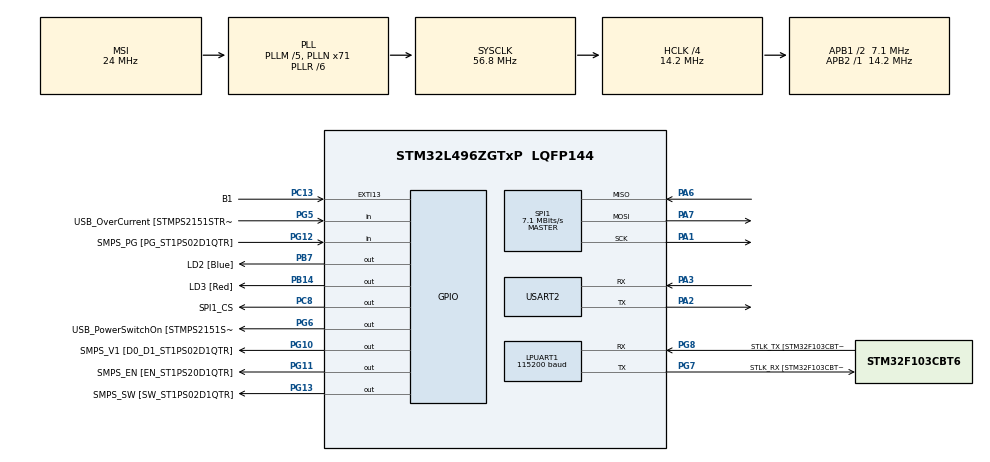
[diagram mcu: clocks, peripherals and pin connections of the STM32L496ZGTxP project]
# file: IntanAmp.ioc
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LPUART1.BaudRate=115200
LPUART1.WordLength=UART_WORDLENGTH_8B
Mcu.Family=STM32L4
Mcu.Name=STM32L496ZGTxP
Mcu.Package=LQFP144
NVIC.EXTI15_10_IRQn=true\:0\:0\:false\:false\:true\:true\:true\:true
NVIC.LPUART1_IRQn=true\:0\:0\:false\:false\:true\:true\:true\:true
NVIC.PriorityGroup=NVIC_PRIORITYGROUP_4
NVIC.SPI1_IRQn=true\:0\:0\:false\:false\:true\:true\:true\:true
NVIC.USART2_IRQn=true\:0\:0\:false\:false\:true\:true\:true\:true
PA1.Mode=Full_Duplex_Master
PA1.Signal=SPI1_SCK
PA10.GPIO_Label=USB_ID
PA10.Signal=USB_OTG_FS_ID
PA11.GPIO_Label=USB_DM
PA11.Signal=USB_OTG_FS_DM
PA12.GPIO_Label=USB_DP
PA12.Signal=USB_OTG_FS_DP
PA13\ (JTMS/SWDIO).GPIO_Label=TMS
PA13\ (JTMS/SWDIO).Mode=Trace_Asynchronous_SW
PA13\ (JTMS/SWDIO).Signal=SYS_JTMS-SWDIO
PA14\ (JTCK/SWCLK).GPIO_Label=TCK
PA14\ (JTCK/SWCLK).Mode=Trace_Asynchronous_SW
PA14\ (JTCK/SWCLK).Signal=SYS_JTCK-SWCLK
PA2.Mode=Asynchronous
PA2.Signal=USART2_TX
PA3.Mode=Asynchronous
PA3.Signal=USART2_RX
PA6.Mode=Full_Duplex_Master
PA6.Signal=SPI1_MISO
PA7.Mode=Full_Duplex_Master
PA7.Signal=SPI1_MOSI
PA8.GPIO_Label=USB_SOF [TP1]
PA8.Signal=USB_OTG_FS_SOF
PA9.GPIO_Label=USB_VBUS
PA9.Signal=USB_OTG_FS_VBUS
PB14.GPIO_Label=LD3 [Red]
PB14.Signal=GPIO_Output
PB3\ (JTDO/TRACESWO).GPIO_Label=SWO
PB3\ (JTDO/TRACESWO).Mode=Trace_Asynchronous_SW
PB3\ (JTDO/TRACESWO).Signal=SYS_JTDO-SWO
PB7.GPIO_Label=LD2 [Blue]
PB7.Signal=GPIO_Output
PC13.GPIO_Label=B1
PC13.Signal=GPXTI13
PC14-OSC32_IN\ (PC14).Mode=LSE-External-Oscillator
PC14-OSC32_IN\ (PC14).Signal=RCC_OSC32_IN
PC15-OSC32_OUT\ (PC15).Mode=LSE-External-Oscillator
PC15-OSC32_OUT\ (PC15).Signal=RCC_OSC32_OUT
PC8.GPIO_Label=SPI1_CS
PC8.Signal=GPIO_Output
PG10.GPIO_Label=SMPS_V1 [D0_D1_ST1PS02D1QTR]
PG10.Signal=GPIO_Output
PG11.GPIO_Label=SMPS_EN [EN_ST1PS20D1QTR]
PG11.Signal=GPIO_Output
PG12.GPIO_Label=SMPS_PG [PG_ST1PS02D1QTR]
PG12.Signal=GPIO_Input
PG13.GPIO_Label=SMPS_SW [SW_ST1PS02D1QTR]
PG13.Signal=GPIO_Output
PG5.GPIO_Label=USB_OverCurrent [STMPS2151STR_FAULT]
PG5.Signal=GPIO_Input
PG6.GPIO_Label=USB_PowerSwitchOn [STMPS2151STR_EN]
PG6.Signal=GPIO_Output
PG7.GPIO_Label=STLK_RX [STM32F103CBT6_PA3]
PG7.Mode=Asynchronous
PG7.Signal=LPUART1_TX
PG8.GPIO_Label=STLK_TX [STM32F103CBT6_PA2]
PG8.Mode=Asynchronous
PG8.Signal=LPUART1_RX
PH0-OSC_IN\ (PH0).GPIO_Label=MCO
PH0-OSC_IN\ (PH0).Signal=RCC_OSC_IN
PH1-OSC_OUT\ (PH1).Signal=RCC_OSC_OUT
ProjectManager.HeapSize=0x200
ProjectManager.StackSize=0x400
ProjectManager.TargetToolchain=STM32CubeIDE
RCC.48MHZClocksFreq_Value=24000000
RCC.ADCFreq_Value=48000000
RCC.AHBCLKDivider=RCC_SYSCLK_DIV4
RCC.AHBFreq_Value=14200000
RCC.APB1CLKDivider=RCC_HCLK_DIV2
RCC.APB1Freq_Value=7100000
RCC.APB1TimFreq_Value=14200000
RCC.APB2Freq_Value=14200000
RCC.APB2TimFreq_Value=14200000
RCC.CortexFreq_Value=14200000
RCC.HCLKFreq_Value=14200000
RCC.HSE_VALUE=8000000
RCC.HSI48_VALUE=48000000
RCC.HSI_VALUE=16000000
RCC.MSIClockRange=RCC_MSIRANGE_9
RCC.MSI_VALUE=24000000
RCC.PLLM=5
RCC.PLLMUL=RCC_PLL_MUL9
RCC.PLLN=71
RCC.PLLR=RCC_PLLR_DIV6
RCC.PLLSAI1N=20
RCC.PRESCALERUSB=RCC_USBCLKSOURCE_PLL_DIV1_5
RCC.SYSCLKFreq_VALUE=56800000
RCC.SYSCLKSource=RCC_SYSCLKSOURCE_PLLCLK
RCC.SYSCLKSourceVirtual=RCC_SYSCLKSOURCE_PLLCLK
RCC.USBFreq_Value=48000000
RCC.VCOOutputFreq_Value=340800000
SPI1.CalculateBaudRate=7.1 MBits/s
SPI1.DataSize=SPI_DATASIZE_16BIT
SPI1.Direction=SPI_DIRECTION_2LINES
SPI1.Mode=SPI_MODE_MASTER
SPI1.VirtualType=VM_MASTER
TIM17.Period=79
USART2.VirtualMode-Asynchronous=VM_ASYNC
VP_TIM17_VS_ClockSourceINT.Mode=Enable_Timer
board=NUCLEO-L496ZG-P

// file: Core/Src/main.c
/* USER CODE BEGIN Header */
/**
  ******************************************************************************
  * @file           : main.c
  * @brief          : Main program body
  ******************************************************************************
  * @attention
  *
  * Copyright (c) 2023 STMicroelectronics.
  * All rights reserved.
  *
  * This software is licensed under terms that can be found in the LICENSE file
  * in the root directory of this software component.
  * If no LICENSE file comes with this software, it is provided AS-IS.
  *
  ******************************************************************************
  */
/* USER CODE END Header */
#include "main.h"

UART_HandleTypeDef hlpuart1;
UART_HandleTypeDef huart2;

SPI_HandleTypeDef hspi1;

TIM_HandleTypeDef htim17;

void SystemClock_Config(void);
static void MX_GPIO_Init(void);
static void MX_LPUART1_UART_Init(void);
static void MX_SPI1_Init(void);
static void MX_TIM17_Init(void);
static void MX_USART2_UART_Init(void);
/* USER CODE BEGIN PFP */
void us_wait(uint32_t us);
void ms_wait(uint32_t ms);
/* USER CODE END PFP */

int main(void)
{

  /* MCU Configuration--------------------------------------------------------*/

  /* Reset of all peripherals, Initializes the Flash interface and the Systick. */
  HAL_Init();

  /* Configure the system clock */
  SystemClock_Config();

  /* Initialize all configured peripherals */
  MX_GPIO_Init();
  MX_LPUART1_UART_Init();
  MX_SPI1_Init();
  MX_TIM17_Init();
  MX_USART2_UART_Init();

  /* Infinite loop */
  /* USER CODE BEGIN WHILE */
  while (1)
  {HAL_GPIO_WritePin(GPIOB, GPIO_PIN_7, GPIO_PIN_SET);
    HAL_Delay(100);
    HAL_GPIO_WritePin(GPIOB, GPIO_PIN_7, GPIO_PIN_RESET);
	HAL_Delay(800);

    /* USER CODE END WHILE */

  }
}

void SystemClock_Config(void)
{
  RCC_OscInitTypeDef RCC_OscInitStruct = {0};
  RCC_ClkInitTypeDef RCC_ClkInitStruct = {0};

  /** Configure the main internal regulator output voltage
  */
  if (HAL_PWREx_ControlVoltageScaling(PWR_REGULATOR_VOLTAGE_SCALE1) != HAL_OK)
  {
    Error_Handler();
  }

  /** Initializes the RCC Oscillators according to the specified parameters
  * in the RCC_OscInitTypeDef structure.
  */
  RCC_OscInitStruct.OscillatorType = RCC_OSCILLATORTYPE_MSI;
  RCC_OscInitStruct.MSIState = RCC_MSI_ON;
  RCC_OscInitStruct.MSICalibrationValue = 0;
  RCC_OscInitStruct.MSIClockRange = RCC_MSIRANGE_9;
  RCC_OscInitStruct.PLL.PLLState = RCC_PLL_ON;
  RCC_OscInitStruct.PLL.PLLSource = RCC_PLLSOURCE_MSI;
  RCC_OscInitStruct.PLL.PLLM = 5;
  RCC_OscInitStruct.PLL.PLLN = 71;
  RCC_OscInitStruct.PLL.PLLP = RCC_PLLP_DIV2;
  RCC_OscInitStruct.PLL.PLLQ = RCC_PLLQ_DIV2;
  RCC_OscInitStruct.PLL.PLLR = RCC_PLLR_DIV6;
  if (HAL_RCC_OscConfig(&RCC_OscInitStruct) != HAL_OK)
  {
    Error_Handler();
  }

  /** Initializes the CPU, AHB and APB buses clocks
  */
  RCC_ClkInitStruct.ClockType = RCC_CLOCKTYPE_HCLK|RCC_CLOCKTYPE_SYSCLK
                              |RCC_CLOCKTYPE_PCLK1|RCC_CLOCKTYPE_PCLK2;
  RCC_ClkInitStruct.SYSCLKSource = RCC_SYSCLKSOURCE_PLLCLK;
  RCC_ClkInitStruct.AHBCLKDivider = RCC_SYSCLK_DIV4;
  RCC_ClkInitStruct.APB1CLKDivider = RCC_HCLK_DIV2;
  RCC_ClkInitStruct.APB2CLKDivider = RCC_HCLK_DIV1;

  if (HAL_RCC_ClockConfig(&RCC_ClkInitStruct, FLASH_LATENCY_0) != HAL_OK)
  {
    Error_Handler();
  }
}

static void MX_LPUART1_UART_Init(void)
{

  hlpuart1.Instance = LPUART1;
  hlpuart1.Init.BaudRate = 115200;
  hlpuart1.Init.WordLength = UART_WORDLENGTH_8B;
  hlpuart1.Init.StopBits = UART_STOPBITS_1;
  hlpuart1.Init.Parity = UART_PARITY_NONE;
  hlpuart1.Init.Mode = UART_MODE_TX_RX;
  hlpuart1.Init.HwFlowCtl = UART_HWCONTROL_NONE;
  hlpuart1.Init.OneBitSampling = UART_ONE_BIT_SAMPLE_DISABLE;
  hlpuart1.AdvancedInit.AdvFeatureInit = UART_ADVFEATURE_NO_INIT;
  if (HAL_UART_Init(&hlpuart1) != HAL_OK)
  {
    Error_Handler();
  }

}

static void MX_USART2_UART_Init(void)
{

  huart2.Instance = USART2;
  huart2.Init.BaudRate = 115200;
  huart2.Init.WordLength = UART_WORDLENGTH_8B;
  huart2.Init.StopBits = UART_STOPBITS_1;
  huart2.Init.Parity = UART_PARITY_NONE;
  huart2.Init.Mode = UART_MODE_TX_RX;
  huart2.Init.HwFlowCtl = UART_HWCONTROL_NONE;
  huart2.Init.OverSampling = UART_OVERSAMPLING_16;
  huart2.Init.OneBitSampling = UART_ONE_BIT_SAMPLE_DISABLE;
  huart2.AdvancedInit.AdvFeatureInit = UART_ADVFEATURE_NO_INIT;
  if (HAL_UART_Init(&huart2) != HAL_OK)
  {
    Error_Handler();
  }

}

static void MX_SPI1_Init(void)
{

  /* SPI1 parameter configuration*/
  hspi1.Instance = SPI1;
  hspi1.Init.Mode = SPI_MODE_MASTER;
  hspi1.Init.Direction = SPI_DIRECTION_2LINES;
  hspi1.Init.DataSize = SPI_DATASIZE_16BIT;
  hspi1.Init.CLKPolarity = SPI_POLARITY_LOW;
  hspi1.Init.CLKPhase = SPI_PHASE_1EDGE;
  hspi1.Init.NSS = SPI_NSS_SOFT;
  hspi1.Init.BaudRatePrescaler = SPI_BAUDRATEPRESCALER_2;
  hspi1.Init.FirstBit = SPI_FIRSTBIT_MSB;
  hspi1.Init.TIMode = SPI_TIMODE_DISABLE;
  hspi1.Init.CRCCalculation = SPI_CRCCALCULATION_DISABLE;
  hspi1.Init.CRCPolynomial = 7;
  hspi1.Init.CRCLength = SPI_CRC_LENGTH_DATASIZE;
  hspi1.Init.NSSPMode = SPI_NSS_PULSE_ENABLE;
  if (HAL_SPI_Init(&hspi1) != HAL_OK)
  {
    Error_Handler();
  }

}

static void MX_TIM17_Init(void)
{

  htim17.Instance = TIM17;
  htim17.Init.Prescaler = 0;
  htim17.Init.CounterMode = TIM_COUNTERMODE_UP;
  htim17.Init.Period = 79;
  htim17.Init.ClockDivision = TIM_CLOCKDIVISION_DIV1;
  htim17.Init.RepetitionCounter = 0;
  htim17.Init.AutoReloadPreload = TIM_AUTORELOAD_PRELOAD_DISABLE;
  if (HAL_TIM_Base_Init(&htim17) != HAL_OK)
  {
    Error_Handler();
  }

}

static void MX_GPIO_Init(void)
{
  GPIO_InitTypeDef GPIO_InitStruct = {0};

  /* GPIO Ports Clock Enable */
  __HAL_RCC_GPIOC_CLK_ENABLE();
  __HAL_RCC_GPIOH_CLK_ENABLE();
  __HAL_RCC_GPIOA_CLK_ENABLE();
  __HAL_RCC_GPIOB_CLK_ENABLE();
  __HAL_RCC_GPIOG_CLK_ENABLE();
  HAL_PWREx_EnableVddIO2();

  /*Configure GPIO pin Output Level */
  HAL_GPIO_WritePin(GPIOB, LD3_Pin|LD2_Pin, GPIO_PIN_RESET);

  /*Configure GPIO pin Output Level */
  HAL_GPIO_WritePin(GPIOG, USB_PowerSwitchOn_Pin|SMPS_V1_Pin|SMPS_EN_Pin|SMPS_SW_Pin, GPIO_PIN_RESET);

  /*Configure GPIO pin Output Level */
  HAL_GPIO_WritePin(SPI1_CS_GPIO_Port, SPI1_CS_Pin, GPIO_PIN_RESET);

  /*Configure GPIO pin : B1_Pin */
  GPIO_InitStruct.Pin = B1_Pin;
  GPIO_InitStruct.Mode = GPIO_MODE_IT_RISING;
  GPIO_InitStruct.Pull = GPIO_NOPULL;
  HAL_GPIO_Init(B1_GPIO_Port, &GPIO_InitStruct);

  /*Configure GPIO pins : LD3_Pin LD2_Pin */
  GPIO_InitStruct.Pin = LD3_Pin|LD2_Pin;
  GPIO_InitStruct.Mode = GPIO_MODE_OUTPUT_PP;
  GPIO_InitStruct.Pull = GPIO_NOPULL;
  GPIO_InitStruct.Speed = GPIO_SPEED_FREQ_LOW;
  HAL_GPIO_Init(GPIOB, &GPIO_InitStruct);

  /*Configure GPIO pins : USB_OverCurrent_Pin SMPS_PG_Pin */
  GPIO_InitStruct.Pin = USB_OverCurrent_Pin|SMPS_PG_Pin;
  GPIO_InitStruct.Mode = GPIO_MODE_INPUT;
  GPIO_InitStruct.Pull = GPIO_NOPULL;
  HAL_GPIO_Init(GPIOG, &GPIO_InitStruct);

  /*Configure GPIO pins : USB_PowerSwitchOn_Pin SMPS_V1_Pin SMPS_EN_Pin SMPS_SW_Pin */
  GPIO_InitStruct.Pin = USB_PowerSwitchOn_Pin|SMPS_V1_Pin|SMPS_EN_Pin|SMPS_SW_Pin;
  GPIO_InitStruct.Mode = GPIO_MODE_OUTPUT_PP;
  GPIO_InitStruct.Pull = GPIO_NOPULL;
  GPIO_InitStruct.Speed = GPIO_SPEED_FREQ_LOW;
  HAL_GPIO_Init(GPIOG, &GPIO_InitStruct);

  /*Configure GPIO pin : SPI1_CS_Pin */
  GPIO_InitStruct.Pin = SPI1_CS_Pin;
  GPIO_InitStruct.Mode = GPIO_MODE_OUTPUT_PP;
  GPIO_InitStruct.Pull = GPIO_NOPULL;
  GPIO_InitStruct.Speed = GPIO_SPEED_FREQ_LOW;
  HAL_GPIO_Init(SPI1_CS_GPIO_Port, &GPIO_InitStruct);

  /*Configure GPIO pins : USB_SOF_Pin USB_ID_Pin USB_DM_Pin USB_DP_Pin */
  GPIO_InitStruct.Pin = USB_SOF_Pin|USB_ID_Pin|USB_DM_Pin|USB_DP_Pin;
  GPIO_InitStruct.Mode = GPIO_MODE_AF_PP;
  GPIO_InitStruct.Pull = GPIO_NOPULL;
  GPIO_InitStruct.Speed = GPIO_SPEED_FREQ_VERY_HIGH;
  GPIO_InitStruct.Alternate = GPIO_AF10_OTG_FS;
  HAL_GPIO_Init(GPIOA, &GPIO_InitStruct);

  /* EXTI interrupt init*/
  HAL_NVIC_SetPriority(EXTI15_10_IRQn, 0, 0);
  HAL_NVIC_EnableIRQ(EXTI15_10_IRQn);

}

/* USER CODE BEGIN 4 */
void us_wait(uint32_t us) {
	TIM17->SR = 0;
	TIM17->PSC = 0;											//Prescaler
	//TIM17->ARR = 79;
	TIM17->EGR = TIM_EGR_UG;									//reset timer counter and prescaler counter

	TIM17->CR1 |= TIM_CR1_CEN;								//counter enable

	for(uint32_t i=0; i<us; i++){
		while( !(TIM17->SR & TIM_SR_UIF) );
		TIM17->SR &= ~TIM_SR_UIF;
		}
	TIM17->CR1 &= ~TIM_CR1_CEN;								//counter disable

}

void ms_wait(uint32_t ms) {
	TIM17->SR = 0;
	TIM17->PSC = 999;										//Prescaler
	//TIM17->ARR = 79;
	TIM17->EGR = TIM_EGR_UG;									//reset timer counter and prescaler counter

	TIM17->CR1 |= TIM_CR1_CEN;								//counter enable

	for(uint32_t i=0; i<ms; i++){
		while( !(TIM17->SR & TIM_SR_UIF) );
		TIM17->SR &= ~TIM_SR_UIF;
		}
	TIM17->CR1 &= ~TIM_CR1_CEN;								//counter disable

}
/* USER CODE END 4 */

void Error_Handler(void)
{
  __disable_irq();
  while (1)
  {
  }
}
